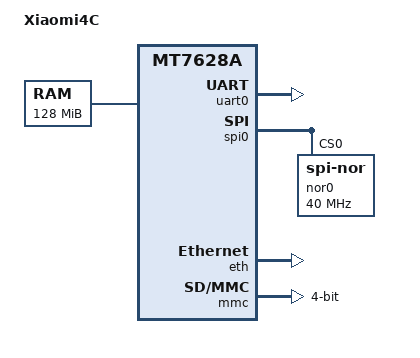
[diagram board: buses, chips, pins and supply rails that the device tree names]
// SPDX-License-Identifier: GPL-2.0+
/*
 * Copyright (C) 2019 Mauro Condarelli <mc5686@mclink.it>
 * Copyright (C) 2024 Lu <gravitydiv10@protonmail.com>
 */

/dts-v1/;

#include "mt7628a.dtsi"
#include <dt-bindings/gpio/gpio.h>

/ {
	compatible = "xiaomi,4c", "ralink,mt7628a-soc";
	model = "Xiaomi4C";

	aliases {
		serial0 = &uart0;
		spi0 = &spi0;
	};

	memory@0 {
		device_type = "memory";
		reg = <0x0 0x08000000>;
	};

	chosen {
		bootargs = "console=ttyS0,115200";
		stdout-path = &uart0;
	};
};

&uart0 {
	status = "okay";
};

&spi0 {
	status = "okay";
	nor0: spi-flash@0 {
		#address-cells = <1>;
		#size-cells = <1>;
		compatible = "jedec,spi-nor";
		spi-max-frequency = <40000000>;
		reg = <0>;
	};
};

&eth {
	status = "okay";

	pinctrl-names = "default";
	pinctrl-0 = <&ephy_iot_mode>;
	mediatek,poll-link-phy = <0>;
};

&mmc {
	status = "okay";

	bus-width = <4>;
	max-frequency = <48000000>;
	cap-sd-highspeed;
	cap-mmc-highspeed;

	pinctrl-names = "default";
	pinctrl-0 = <&sd_iot_mode>;
};
